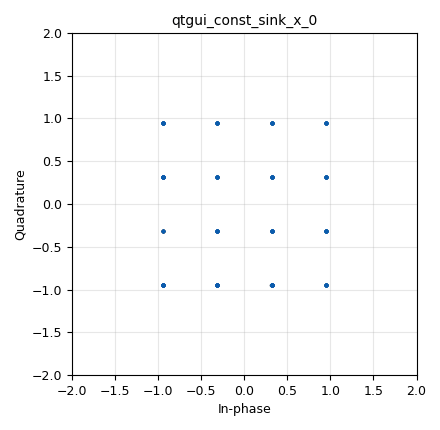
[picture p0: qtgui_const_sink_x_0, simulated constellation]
options:
  parameters:
    generate_options: qt_gui
    id: mer_probe_ai
    output_language: python
    title: Not titled yet
  states: {}

blocks:
- name: ai
  id: variable_qtgui_range
  parameters:
    start: '0'
    step: '.001'
    stop: '5'
    value: '0'
  states: {}
- name: samp_rate
  id: variable
  parameters:
    value: '32000'
  states: {}
- name: analog_random_source_x_0
  id: analog_random_source_x
  parameters:
    max: '16'
    min: '0'
    num_samps: '1000'
    repeat: 'True'
    type: byte
  states: {}
- name: channels_impairments_0
  id: channels_impairments
  parameters:
    freq_offset: '0'
    gamma: '0'
    i_ofs: '0'
    magbal: ai
    phase_noise_mag: '-40'
    phasebal: '0'
    q_ofs: '0'
  states: {}
- name: digital_chunks_to_symbols_xx_0
  id: digital_chunks_to_symbols_xx
  parameters:
    dimension: '1'
    in_type: byte
    out_type: complex
    symbol_table: '[0.9487+0.9487j,0.9487+0.3162j, 0.3162+0.9487j, 0.3162 +0.3162j,0.9487-0.9487j,0.9487- 0.3162j, 0.3162-0.9487j, 0.3162- 0.3162j,-0.9487+0.9487j,-0.9487+ 0.3162j,- 0.3162+0.9487j,- 0.3162+ 0.3162j,-0.9487-0.9487j,-0.9487- 0.3162j,-0.3162-0.9487j,-0.3162- 0.3162j]'
  states: {}
- name: mer_probe_ai_cf_0
  id: mer_probe_ai_cf
  parameters:
    alpha: '0.05'
    symbol_table: '[0.9487+0.9487j,0.9487+0.3162j, 0.3162+0.9487j, 0.3162 +0.3162j,0.9487-0.9487j,0.9487- 0.3162j, 0.3162-0.9487j, 0.3162- 0.3162j,-0.9487+0.9487j,-0.9487+ 0.3162j,- 0.3162+0.9487j,- 0.3162+ 0.3162j,-0.9487-0.9487j,-0.9487- 0.3162j,-0.3162-0.9487j,-0.3162- 0.3162j]'
  states: {}
- name: qtgui_const_sink_x_0
  id: qtgui_const_sink_x
  parameters:
    size: '1024'
    type: complex
  states: {}
- name: qtgui_number_sink_0
  id: qtgui_number_sink
  parameters:
    graph_type: qtgui.NUM_GRAPH_HORIZ
    min: '0'
    name: '"Amplitude Imbalance horizontal"'
    type: float
  states: {}
- name: qtgui_number_sink_1
  id: qtgui_number_sink
  parameters:
    graph_type: qtgui.NUM_GRAPH_HORIZ
    min: '0'
    name: '"Amplitude Imbalance Vertical"'
    type: float
  states: {}

connections:
- [analog_random_source_x_0, '0', digital_chunks_to_symbols_xx_0, '0']
- [channels_impairments_0, '0', mer_probe_ai_cf_0, '0']
- [channels_impairments_0, '0', qtgui_const_sink_x_0, '0']
- [digital_chunks_to_symbols_xx_0, '0', channels_impairments_0, '0']
- [mer_probe_ai_cf_0, '0', qtgui_number_sink_0, '0']
- [mer_probe_ai_cf_0, '1', qtgui_number_sink_1, '0']

metadata:
  file_format: 1
  grc_version: 3.9.8.0
